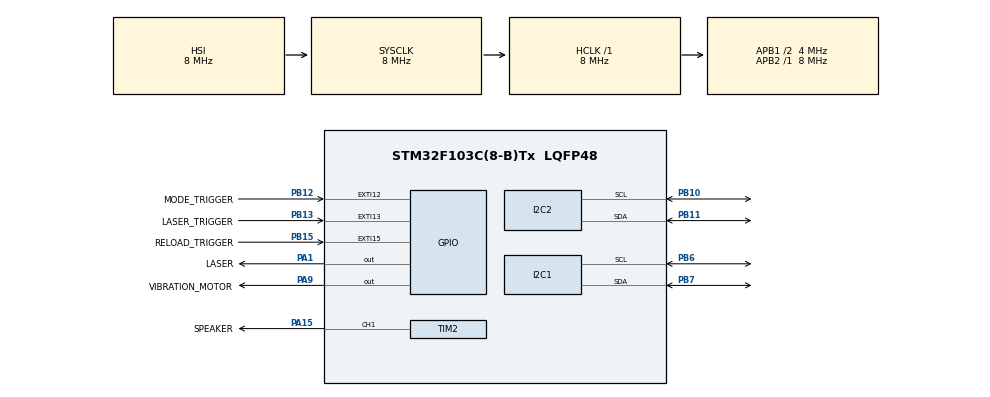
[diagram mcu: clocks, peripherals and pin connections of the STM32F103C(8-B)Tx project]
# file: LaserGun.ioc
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Dma.Request0=TIM3_CH4/UP
Dma.TIM3_CH4/UP.0.Direction=DMA_MEMORY_TO_PERIPH
Dma.TIM3_CH4/UP.0.Instance=DMA1_Channel3
Dma.TIM3_CH4/UP.0.MemDataAlignment=DMA_MDATAALIGN_BYTE
Dma.TIM3_CH4/UP.0.MemInc=DMA_MINC_ENABLE
Dma.TIM3_CH4/UP.0.Mode=DMA_NORMAL
Dma.TIM3_CH4/UP.0.PeriphDataAlignment=DMA_PDATAALIGN_WORD
Dma.TIM3_CH4/UP.0.PeriphInc=DMA_PINC_DISABLE
Dma.TIM3_CH4/UP.0.Priority=DMA_PRIORITY_VERY_HIGH
I2C1.I2C_Mode=I2C_Fast
I2C2.I2C_Mode=I2C_Fast
Mcu.Family=STM32F1
Mcu.Name=STM32F103C(8-B)Tx
Mcu.Package=LQFP48
NVIC.DMA1_Channel3_IRQn=true\:0\:0\:false\:false\:true\:false\:true\:true
NVIC.EXTI15_10_IRQn=true\:0\:0\:false\:false\:true\:true\:true\:true
NVIC.PriorityGroup=NVIC_PRIORITYGROUP_4
NVIC.TIM1_UP_IRQn=true\:0\:0\:false\:false\:true\:true\:true\:true
NVIC.TIM4_IRQn=true\:0\:0\:false\:false\:true\:true\:true\:true
PA1.GPIO_Label=LASER
PA1.PinState=GPIO_PIN_RESET
PA1.Signal=GPIO_Output
PA13.Mode=Serial_Wire
PA13.Signal=SYS_JTMS-SWDIO
PA14.Mode=Serial_Wire
PA14.Signal=SYS_JTCK-SWCLK
PA15.GPIO_Label=SPEAKER
PA15.Signal=S_TIM2_CH1_ETR
PA9.GPIO_Label=VIBRATION_MOTOR
PA9.Signal=GPIO_Output
PB10.Mode=I2C
PB10.Signal=I2C2_SCL
PB11.Mode=I2C
PB11.Signal=I2C2_SDA
PB12.GPIO_Label=MODE_TRIGGER
PB12.GPIO_ModeDefaultEXTI=GPIO_MODE_IT_RISING
PB12.GPIO_PuPd=GPIO_PULLDOWN
PB12.Signal=GPXTI12
PB13.GPIO_Label=LASER_TRIGGER
PB13.GPIO_PuPd=GPIO_PULLDOWN
PB13.Signal=GPXTI13
PB15.GPIO_Label=RELOAD_TRIGGER
PB15.GPIO_PuPd=GPIO_PULLDOWN
PB15.Signal=GPXTI15
PB6.Mode=I2C
PB6.Signal=I2C1_SCL
PB7.Mode=I2C
PB7.Signal=I2C1_SDA
PD0-OSC_IN.Mode=HSE-External-Oscillator
PD0-OSC_IN.Signal=RCC_OSC_IN
PD1-OSC_OUT.Mode=HSE-External-Oscillator
PD1-OSC_OUT.Signal=RCC_OSC_OUT
ProjectManager.HeapSize=0x200
ProjectManager.StackSize=0x400
ProjectManager.TargetToolchain=STM32CubeIDE
RCC.AHBFreq_Value=8000000
RCC.APB1CLKDivider=RCC_HCLK_DIV2
RCC.APB1Freq_Value=4000000
RCC.APB1TimFreq_Value=8000000
RCC.APB2Freq_Value=8000000
RCC.APB2TimFreq_Value=8000000
RCC.HCLKFreq_Value=8000000
RCC.HSE_VALUE=12000000
RCC.PLLMUL=RCC_PLL_MUL6
RCC.PLLSourceVirtual=RCC_PLLSOURCE_HSE
RCC.SYSCLKFreq_VALUE=8000000
RCC.USBFreq_Value=72000000
SH.S_TIM2_CH1_ETR.0=TIM2_CH1,PWM Generation1 CH1
TIM1.Period=999
TIM1.Prescaler=7999
TIM2.Channel-PWM\ Generation1\ CH1=TIM_CHANNEL_1
TIM2.Period=255
TIM2.Pulse-PWM\ Generation1\ CH1=0
TIM3.Period=125 - 1
TIM3.Prescaler=4 - 1
TIM4.Period=999
TIM4.Prescaler=7999
VP_TIM1_VS_ClockSourceINT.Mode=Internal
VP_TIM2_VS_ClockSourceINT.Mode=Internal
VP_TIM3_VS_ClockSourceINT.Mode=Internal
VP_TIM4_VS_ClockSourceINT.Mode=Internal
board=custom

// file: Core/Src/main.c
/* USER CODE BEGIN Header */
/**
  ******************************************************************************
  * @file           : main.c
  * @brief          : Main program body
  ******************************************************************************
  * @attention
  *
  * Copyright (c) 2025 STMicroelectronics.
  * All rights reserved.
  *
  * This software is licensed under terms that can be found in the LICENSE file
  * in the root directory of this software component.
  * If no LICENSE file comes with this software, it is provided AS-IS.
  *
  ******************************************************************************
  */
/* USER CODE END Header */
#include "main.h"

/* USER CODE BEGIN Includes */
#include "sound.h"
#include "stdbool.h"
#include "ssd1306_fonts.h"
#include "ssd1306.h"
#include "string.h"
/* USER CODE END Includes */

/* USER CODE BEGIN PD */
#define DEBOUNCE_DELAY_MS 200
/* USER CODE END PD */

I2C_HandleTypeDef hi2c1;
I2C_HandleTypeDef hi2c2;

TIM_HandleTypeDef htim1;
TIM_HandleTypeDef htim2;
TIM_HandleTypeDef htim3;
TIM_HandleTypeDef htim4;
DMA_HandleTypeDef hdma_tim3_ch4_up;

/* USER CODE BEGIN PV */
int mode = 0;
int bullets = 30;
bool out_of_ammo = false;
bool reloading = false;
uint32_t last_button_press_time = 0;
char *modes[3] = {"Mode: Single Shot", "Mode: Auto", "Mode: Burst"};
/* USER CODE END PV */

void SystemClock_Config(void);
static void MX_GPIO_Init(void);
static void MX_DMA_Init(void);
static void MX_TIM1_Init(void);
static void MX_TIM2_Init(void);
static void MX_TIM3_Init(void);
static void MX_I2C2_Init(void);
static void MX_TIM4_Init(void);
static void MX_I2C1_Init(void);

/* USER CODE BEGIN 0 */
void ReloadMessage(){
	ssd1306_Fill(Black);
	ssd1306_SetCursor(16, 19);
	ssd1306_WriteString("RELOAD", Font_16x26, White);
	ssd1306_UpdateScreen();
}

void ReloadingMessage(){
	ssd1306_Fill(Black);
	ssd1306_SetCursor(14, 23);
	ssd1306_WriteString("RELOADING", Font_11x18, White);
	ssd1306_UpdateScreen();
}

void ModeDisplay(){
	ssd1306_SetCursor(2, 8);
	ssd1306_WriteString("                    ", Font_7x10, White);
	ssd1306_SetCursor(2, 8);
	ssd1306_WriteString(modes[mode], Font_7x10, White);
	ssd1306_UpdateScreen();
}

void BulletsDisplay(){
	  ssd1306_SetCursor(24, 32);
	  ssd1306_WriteChar((bullets / 10) + 48, Font_16x26, White);
	  ssd1306_WriteChar((bullets % 10) + 48, Font_16x26, White);
	  ssd1306_WriteString("/30", Font_16x26, White);
	  ssd1306_UpdateScreen();
}

void OutOfAmmoEvent(){
	  if (reloading) return;
	  StartCounting(1000);
	  if (out_of_ammo){
		  HAL_GPIO_WritePin(VIBRATION_MOTOR_GPIO_Port, VIBRATION_MOTOR_Pin, 1);
		  PlaySound(out_of_ammo_sound, out_of_ammo_sound_length);
		  ReloadMessage();
	  }
	  else{
		  reloading = true;
		  PlaySound(reload_sound, reload_sound_length);
		  ReloadingMessage();
	  }
}

//Kich hoat am thanh
void PlaySound(const uint8_t audio_data[],const uint32_t audio_length)
{
	HAL_DMA_Abort_IT(&hdma_tim3_ch4_up);
	HAL_DMA_Start_IT(&hdma_tim3_ch4_up,(uint32_t)(audio_data+44),(uint32_t)&(TIM2->CCR1), audio_length);
	HAL_TIM_Base_Start(&htim3);
}

//Ham delay bang timer 4
void Timer_Delay_ms(uint16_t ms){
    __HAL_TIM_SET_COUNTER(&htim4, 0);
    __HAL_TIM_SET_AUTORELOAD(&htim4, ms);// Reset counter
    HAL_TIM_Base_Start(&htim4);        // Bắt đầu timer
    while (__HAL_TIM_GET_COUNTER(&htim4) < ms);
    HAL_TIM_Base_Stop(&htim4);         // Dừng timer sau khi xong
}

void StartVibrate(int ms){
	  HAL_GPIO_WritePin(VIBRATION_MOTOR_GPIO_Port, VIBRATION_MOTOR_Pin, 1);
	  __HAL_TIM_CLEAR_FLAG(&htim1, TIM_FLAG_UPDATE);
	__HAL_TIM_SET_COUNTER(&htim1, 0);
    __HAL_TIM_SET_AUTORELOAD(&htim1, ms);// Reset counter
    HAL_TIM_Base_Start_IT(&htim1);
}

void StartCounting(int ms){
		__HAL_TIM_CLEAR_FLAG(&htim1, TIM_FLAG_UPDATE);
		__HAL_TIM_SET_COUNTER(&htim1, 0);
		__HAL_TIM_SET_AUTORELOAD(&htim1, ms);// Reset counter
		HAL_TIM_Base_Start_IT(&htim1);
}

//Ham tao rung
void vibrate(int ms){
	  HAL_GPIO_WritePin(VIBRATION_MOTOR_GPIO_Port, VIBRATION_MOTOR_Pin, 1);
	  Timer_Delay_ms(ms);
	  HAL_GPIO_WritePin(VIBRATION_MOTOR_GPIO_Port, VIBRATION_MOTOR_Pin, 0);
}

void HAL_TIM_PeriodElapsedCallback(TIM_HandleTypeDef *htim)
{
    if(htim->Instance == TIM1)
    {
    	  ssd1306_Fill(Black);
		  ModeDisplay();
		  BulletsDisplay();
      if (!out_of_ammo){
		  HAL_GPIO_WritePin(VIBRATION_MOTOR_GPIO_Port, VIBRATION_MOTOR_Pin, 0);
    	  reloading = false;
      }
      HAL_TIM_Base_Stop_IT(htim);
    }
}

//Ham ngat khi hoan tat truyen du lieu qua DMA
void HAL_DMA_ConvCpltCallback(DMA_HandleTypeDef *hdma)
{
    if (hdma == &hdma_tim3_ch4_up){
    	HAL_DMA_Abort_IT(&hdma_tim3_ch4_up);
    	HAL_TIM_Base_Stop(&htim3);
    }
}

//Ham ngat khi nhan nut
void HAL_GPIO_EXTI_Callback(uint16_t GPIO_Pin)
{
	uint32_t now = HAL_GetTick();

	    if (now - last_button_press_time < DEBOUNCE_DELAY_MS) {
	        return;
	    }

	    last_button_press_time = now;
	if (reloading) return;
	if (GPIO_Pin == LASER_TRIGGER_Pin){
		if(!out_of_ammo){
			switch (mode){
			  case 0:
				  HAL_GPIO_TogglePin(LASER_GPIO_Port, LASER_Pin);
				  vibrate(50);
				  PlaySound(shoot_sound, shoot_sound_length);
				  HAL_GPIO_TogglePin(LASER_GPIO_Port, LASER_Pin);
				  bullets--;
				  BulletsDisplay();
				  if (bullets == 0){
					  out_of_ammo = true;
					  OutOfAmmoEvent();
				  }
				  break;
			  case 1:
				  //Mode 2: auto shot
				  while(HAL_GPIO_ReadPin(LASER_TRIGGER_GPIO_Port, LASER_TRIGGER_Pin) == 1){
					  HAL_GPIO_TogglePin(LASER_GPIO_Port, LASER_Pin);
					  vibrate(50);
					  PlaySound(shoot_sound, shoot_sound_length);
					  HAL_GPIO_TogglePin(LASER_GPIO_Port, LASER_Pin);
					  Timer_Delay_ms(50);
					  bullets--;
					  BulletsDisplay();
					  if (bullets == 0){
						  out_of_ammo = true;
						  OutOfAmmoEvent();
						  break;
					  }
				  }
				  break;
			  case 2:
				  //Mode 3: burst
				  for (int i = 0; i < 3; i++){
					  HAL_GPIO_TogglePin(LASER_GPIO_Port, LASER_Pin);
					  vibrate(50);
					  PlaySound(shoot_sound, shoot_sound_length);
					  HAL_GPIO_TogglePin(LASER_GPIO_Port, LASER_Pin);
					  Timer_Delay_ms(50);
					  bullets--;
					  BulletsDisplay();
					  if (bullets == 0){
						  out_of_ammo = true;
						  OutOfAmmoEvent();
						  break;
					  }
				  }
			}
		}
		else{
			  OutOfAmmoEvent();
		}
	}
	else if (GPIO_Pin == MODE_TRIGGER_Pin){
		  mode++;
		  if (mode > 2) mode = 0;
		  PlaySound(switch_sound, switch_sound_length);
		  ModeDisplay();
	}
	else if (GPIO_Pin == RELOAD_TRIGGER_Pin){

		if (bullets < 30){
			bullets = 30;
			out_of_ammo = false;
			OutOfAmmoEvent();
		}
	}
	else{
		__NOP();
	}
}

/* USER CODE END 0 */

int main(void)
{

  /* MCU Configuration--------------------------------------------------------*/

  /* Reset of all peripherals, Initializes the Flash interface and the Systick. */
  HAL_Init();

  /* Configure the system clock */
  SystemClock_Config();

  /* Initialize all configured peripherals */
  MX_GPIO_Init();
  MX_DMA_Init();
  MX_TIM1_Init();
  MX_TIM2_Init();
  MX_TIM3_Init();
  MX_I2C2_Init();
  MX_TIM4_Init();
  MX_I2C1_Init();
  /* USER CODE BEGIN 2 */
  ssd1306_Init();
  ssd1306_Fill(Black);
  ModeDisplay();
  BulletsDisplay();
  /* USER CODE END 2 */

  /* Infinite loop */
  while (1)
  {

  }
}

void SystemClock_Config(void)
{
  RCC_OscInitTypeDef RCC_OscInitStruct = {0};
  RCC_ClkInitTypeDef RCC_ClkInitStruct = {0};

  /** Initializes the RCC Oscillators according to the specified parameters
  * in the RCC_OscInitTypeDef structure.
  */
  RCC_OscInitStruct.OscillatorType = RCC_OSCILLATORTYPE_HSI;
  RCC_OscInitStruct.HSIState = RCC_HSI_ON;
  RCC_OscInitStruct.HSICalibrationValue = RCC_HSICALIBRATION_DEFAULT;
  RCC_OscInitStruct.PLL.PLLState = RCC_PLL_NONE;
  if (HAL_RCC_OscConfig(&RCC_OscInitStruct) != HAL_OK)
  {
    Error_Handler();
  }

  /** Initializes the CPU, AHB and APB buses clocks
  */
  RCC_ClkInitStruct.ClockType = RCC_CLOCKTYPE_HCLK|RCC_CLOCKTYPE_SYSCLK
                              |RCC_CLOCKTYPE_PCLK1|RCC_CLOCKTYPE_PCLK2;
  RCC_ClkInitStruct.SYSCLKSource = RCC_SYSCLKSOURCE_HSI;
  RCC_ClkInitStruct.AHBCLKDivider = RCC_SYSCLK_DIV1;
  RCC_ClkInitStruct.APB1CLKDivider = RCC_HCLK_DIV2;
  RCC_ClkInitStruct.APB2CLKDivider = RCC_HCLK_DIV1;

  if (HAL_RCC_ClockConfig(&RCC_ClkInitStruct, FLASH_LATENCY_0) != HAL_OK)
  {
    Error_Handler();
  }
}

static void MX_I2C1_Init(void)
{

  hi2c1.Instance = I2C1;
  hi2c1.Init.ClockSpeed = 400000;
  hi2c1.Init.DutyCycle = I2C_DUTYCYCLE_2;
  hi2c1.Init.OwnAddress1 = 0;
  hi2c1.Init.AddressingMode = I2C_ADDRESSINGMODE_7BIT;
  hi2c1.Init.DualAddressMode = I2C_DUALADDRESS_DISABLE;
  hi2c1.Init.OwnAddress2 = 0;
  hi2c1.Init.GeneralCallMode = I2C_GENERALCALL_DISABLE;
  hi2c1.Init.NoStretchMode = I2C_NOSTRETCH_DISABLE;
  if (HAL_I2C_Init(&hi2c1) != HAL_OK)
  {
    Error_Handler();
  }

}

static void MX_I2C2_Init(void)
{

  hi2c2.Instance = I2C2;
  hi2c2.Init.ClockSpeed = 400000;
  hi2c2.Init.DutyCycle = I2C_DUTYCYCLE_2;
  hi2c2.Init.OwnAddress1 = 0;
  hi2c2.Init.AddressingMode = I2C_ADDRESSINGMODE_7BIT;
  hi2c2.Init.DualAddressMode = I2C_DUALADDRESS_DISABLE;
  hi2c2.Init.OwnAddress2 = 0;
  hi2c2.Init.GeneralCallMode = I2C_GENERALCALL_DISABLE;
  hi2c2.Init.NoStretchMode = I2C_NOSTRETCH_DISABLE;
  if (HAL_I2C_Init(&hi2c2) != HAL_OK)
  {
    Error_Handler();
  }

}

static void MX_TIM1_Init(void)
{

  TIM_ClockConfigTypeDef sClockSourceConfig = {0};
  TIM_MasterConfigTypeDef sMasterConfig = {0};

  htim1.Instance = TIM1;
  htim1.Init.Prescaler = 7999;
  htim1.Init.CounterMode = TIM_COUNTERMODE_UP;
  htim1.Init.Period = 999;
  htim1.Init.ClockDivision = TIM_CLOCKDIVISION_DIV1;
  htim1.Init.RepetitionCounter = 0;
  htim1.Init.AutoReloadPreload = TIM_AUTORELOAD_PRELOAD_DISABLE;
  if (HAL_TIM_Base_Init(&htim1) != HAL_OK)
  {
    Error_Handler();
  }
  sClockSourceConfig.ClockSource = TIM_CLOCKSOURCE_INTERNAL;
  if (HAL_TIM_ConfigClockSource(&htim1, &sClockSourceConfig) != HAL_OK)
  {
    Error_Handler();
  }
  sMasterConfig.MasterOutputTrigger = TIM_TRGO_RESET;
  sMasterConfig.MasterSlaveMode = TIM_MASTERSLAVEMODE_DISABLE;
  if (HAL_TIMEx_MasterConfigSynchronization(&htim1, &sMasterConfig) != HAL_OK)
  {
    Error_Handler();
  }

}

static void MX_TIM2_Init(void)
{

  TIM_ClockConfigTypeDef sClockSourceConfig = {0};
  TIM_MasterConfigTypeDef sMasterConfig = {0};
  TIM_OC_InitTypeDef sConfigOC = {0};

  htim2.Instance = TIM2;
  htim2.Init.Prescaler = 0;
  htim2.Init.CounterMode = TIM_COUNTERMODE_UP;
  htim2.Init.Period = 255;
  htim2.Init.ClockDivision = TIM_CLOCKDIVISION_DIV1;
  htim2.Init.AutoReloadPreload = TIM_AUTORELOAD_PRELOAD_DISABLE;
  if (HAL_TIM_Base_Init(&htim2) != HAL_OK)
  {
    Error_Handler();
  }
  sClockSourceConfig.ClockSource = TIM_CLOCKSOURCE_INTERNAL;
  if (HAL_TIM_ConfigClockSource(&htim2, &sClockSourceConfig) != HAL_OK)
  {
    Error_Handler();
  }
  if (HAL_TIM_PWM_Init(&htim2) != HAL_OK)
  {
    Error_Handler();
  }
  sMasterConfig.MasterOutputTrigger = TIM_TRGO_RESET;
  sMasterConfig.MasterSlaveMode = TIM_MASTERSLAVEMODE_DISABLE;
  if (HAL_TIMEx_MasterConfigSynchronization(&htim2, &sMasterConfig) != HAL_OK)
  {
    Error_Handler();
  }
  sConfigOC.OCMode = TIM_OCMODE_PWM1;
  sConfigOC.Pulse = 0;
  sConfigOC.OCPolarity = TIM_OCPOLARITY_HIGH;
  sConfigOC.OCFastMode = TIM_OCFAST_DISABLE;
  if (HAL_TIM_PWM_ConfigChannel(&htim2, &sConfigOC, TIM_CHANNEL_1) != HAL_OK)
  {
    Error_Handler();
  }
  /* USER CODE BEGIN TIM2_Init 2 */
  HAL_TIM_PWM_Start(&htim2,TIM_CHANNEL_1); //cho phep PWM (gia lap DAC)
  /* USER CODE END TIM2_Init 2 */
  HAL_TIM_MspPostInit(&htim2);

}

static void MX_TIM3_Init(void)
{

  TIM_ClockConfigTypeDef sClockSourceConfig = {0};
  TIM_MasterConfigTypeDef sMasterConfig = {0};

  htim3.Instance = TIM3;
  htim3.Init.Prescaler = 4 - 1;
  htim3.Init.CounterMode = TIM_COUNTERMODE_UP;
  htim3.Init.Period = 125 - 1;
  htim3.Init.ClockDivision = TIM_CLOCKDIVISION_DIV1;
  htim3.Init.AutoReloadPreload = TIM_AUTORELOAD_PRELOAD_DISABLE;
  if (HAL_TIM_Base_Init(&htim3) != HAL_OK)
  {
    Error_Handler();
  }
  sClockSourceConfig.ClockSource = TIM_CLOCKSOURCE_INTERNAL;
  if (HAL_TIM_ConfigClockSource(&htim3, &sClockSourceConfig) != HAL_OK)
  {
    Error_Handler();
  }
  sMasterConfig.MasterOutputTrigger = TIM_TRGO_RESET;
  sMasterConfig.MasterSlaveMode = TIM_MASTERSLAVEMODE_DISABLE;
  if (HAL_TIMEx_MasterConfigSynchronization(&htim3, &sMasterConfig) != HAL_OK)
  {
    Error_Handler();
  }
  /* USER CODE BEGIN TIM3_Init 2 */
  // Kích hoạt DMA trên Timer Update Event
  __HAL_TIM_ENABLE_DMA(&htim3, TIM_DMA_UPDATE); //Kich hoat DMA
  /* USER CODE END TIM3_Init 2 */

}

static void MX_TIM4_Init(void)
{

  TIM_ClockConfigTypeDef sClockSourceConfig = {0};
  TIM_MasterConfigTypeDef sMasterConfig = {0};

  htim4.Instance = TIM4;
  htim4.Init.Prescaler = 7999;
  htim4.Init.CounterMode = TIM_COUNTERMODE_UP;
  htim4.Init.Period = 999;
  htim4.Init.ClockDivision = TIM_CLOCKDIVISION_DIV1;
  htim4.Init.AutoReloadPreload = TIM_AUTORELOAD_PRELOAD_DISABLE;
  if (HAL_TIM_Base_Init(&htim4) != HAL_OK)
  {
    Error_Handler();
  }
  sClockSourceConfig.ClockSource = TIM_CLOCKSOURCE_INTERNAL;
  if (HAL_TIM_ConfigClockSource(&htim4, &sClockSourceConfig) != HAL_OK)
  {
    Error_Handler();
  }
  sMasterConfig.MasterOutputTrigger = TIM_TRGO_RESET;
  sMasterConfig.MasterSlaveMode = TIM_MASTERSLAVEMODE_DISABLE;
  if (HAL_TIMEx_MasterConfigSynchronization(&htim4, &sMasterConfig) != HAL_OK)
  {
    Error_Handler();
  }

}

static void MX_DMA_Init(void)
{

  /* DMA controller clock enable */
  __HAL_RCC_DMA1_CLK_ENABLE();

  /* DMA interrupt init */
  /* DMA1_Channel3_IRQn interrupt configuration */
  HAL_NVIC_SetPriority(DMA1_Channel3_IRQn, 0, 0);
  HAL_NVIC_EnableIRQ(DMA1_Channel3_IRQn);

}

static void MX_GPIO_Init(void)
{
  GPIO_InitTypeDef GPIO_InitStruct = {0};

  /* GPIO Ports Clock Enable */
  __HAL_RCC_GPIOD_CLK_ENABLE();
  __HAL_RCC_GPIOA_CLK_ENABLE();
  __HAL_RCC_GPIOB_CLK_ENABLE();

  /*Configure GPIO pin Output Level */
  HAL_GPIO_WritePin(GPIOA, LASER_Pin|VIBRATION_MOTOR_Pin, GPIO_PIN_RESET);

  /*Configure GPIO pins : LASER_Pin VIBRATION_MOTOR_Pin */
  GPIO_InitStruct.Pin = LASER_Pin|VIBRATION_MOTOR_Pin;
  GPIO_InitStruct.Mode = GPIO_MODE_OUTPUT_PP;
  GPIO_InitStruct.Pull = GPIO_NOPULL;
  GPIO_InitStruct.Speed = GPIO_SPEED_FREQ_LOW;
  HAL_GPIO_Init(GPIOA, &GPIO_InitStruct);

  /*Configure GPIO pins : MODE_TRIGGER_Pin LASER_TRIGGER_Pin RELOAD_TRIGGER_Pin */
  GPIO_InitStruct.Pin = MODE_TRIGGER_Pin|LASER_TRIGGER_Pin|RELOAD_TRIGGER_Pin;
  GPIO_InitStruct.Mode = GPIO_MODE_IT_RISING;
  GPIO_InitStruct.Pull = GPIO_PULLDOWN;
  HAL_GPIO_Init(GPIOB, &GPIO_InitStruct);

  /* EXTI interrupt init*/
  HAL_NVIC_SetPriority(EXTI15_10_IRQn, 0, 0);
  HAL_NVIC_EnableIRQ(EXTI15_10_IRQn);

}

void Error_Handler(void)
{
  __disable_irq();
  while (1)
  {
  }
}
